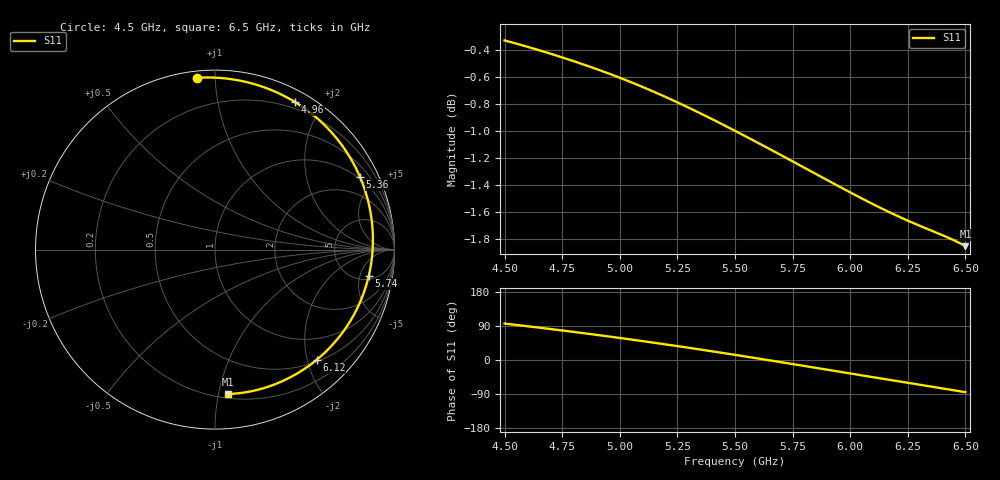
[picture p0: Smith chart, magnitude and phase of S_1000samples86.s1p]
! TOUCHSTONE file generated by CST MICROWAVE STUDIO
! Date and time: Wed Oct 26 22:59:07 2022
! Project name: L.cst
! Parameters = {Di=1.27; Epsilon_r=1.56; InnerDiameter=1.27; Length=2; Lf=10; Lg=60; OuterConductorThickness=0.2921; OuterDiameter=3.6; Wf=3; Wp=41.2; de=1.5; df=6.8; g=0.8; gx=2.91949; gy=4.59087; h=2.34; hf=1.524; px=9.40879; py=13.5149; w=9.7; wx=6.4893; wy=8.92407}
! Header version: 2018
! Port assignment regex: !\s*Touchstone port\s*([0-9]+)\s*=\s*(CST MWS port|CST DS port)\s*([0-9]+|Zmin|Zmax)\s*\(\"(.*)\"\)(\s*mode\s*([0-9]+))?.*
! Touchstone port assignment:
! Touchstone port 1 = CST MWS port 1 ("")
# GHz S DB R 50
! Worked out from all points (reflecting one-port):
!   101 points, 4.5 GHz to 6.5 GHz, reference 50 ohm
!   lowest |S11| = -1.9 dB at 6.5 GHz (marker M1), VSWR 9.40, Z = 11.5 - j53.3 ohm
!   phase of S11 starts at 96 deg and turns -181 deg over the sweep
!   S11 on the Smith chart (normalised r, x): 4.5 GHz: 0.03, +0.90; 4.96 GHz: 0.13, +1.68; 5.36 GHz: 0.91, +4.03; 5.74 GHz: 5.81, -6.97; 6.12 GHz: 0.53, -2.17; 6.5 GHz: 0.23, -1.07
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4.5  -0.33 96.1
4.64  -0.40 86.1
4.76  -0.46 77.2
4.86  -0.52 69.4
4.96  -0.58 61.4
5  -0.61 58.1
5.12  -0.69 48.0
5.18  -0.74 42.8
5.26  -0.80 35.7
5.36  -0.88 26.6
5.44  -0.95 19.2
5.5  -1.00 13.5
5.56  -1.06 7.8
5.62  -1.11 2.0
5.68  -1.16 -3.8
5.74  -1.22 -9.7
5.76  -1.24 -11.7
5.82  -1.29 -17.6
5.88  -1.35 -23.6
5.94  -1.40 -29.5
6  -1.46 -35.5
6.12  -1.56 -47.4
6.2  -1.63 -55.3
6.26  -1.67 -61.2
6.32  -1.72 -67.1
6.38  -1.76 -73.0
6.44  -1.80 -78.9
6.5  -1.86 -85.0
